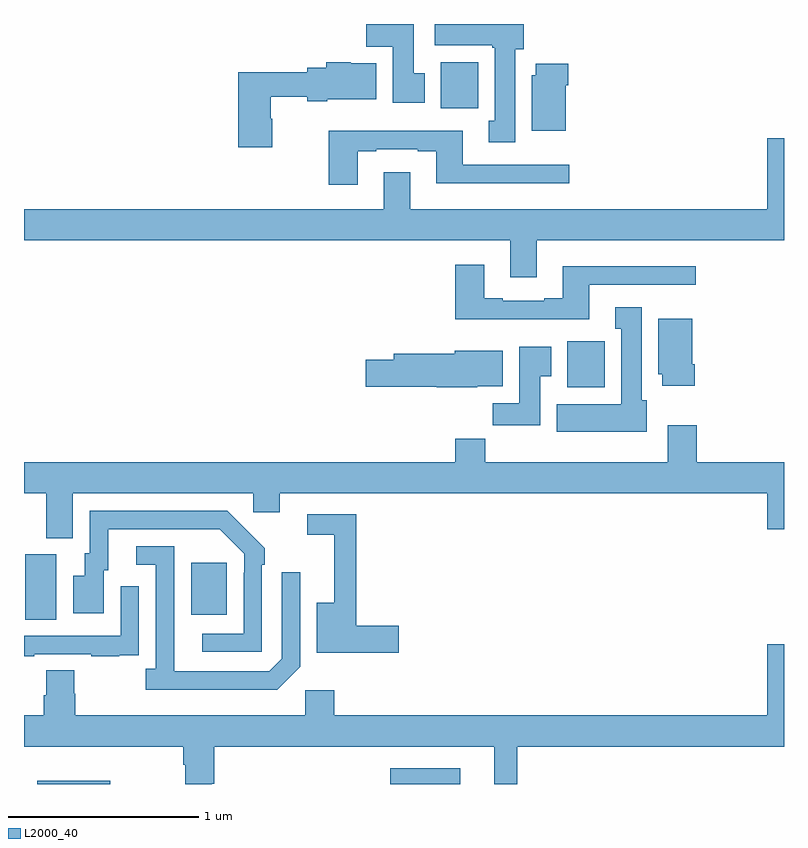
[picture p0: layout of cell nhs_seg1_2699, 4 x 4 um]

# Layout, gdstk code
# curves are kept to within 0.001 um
import gdstk
lib = gdstk.Library(unit=1e-6, precision=1e-09)
def R(c, l, rs):  # rectangles x0, y0, x1, y1
    for r in rs: c.add(gdstk.rectangle(r[:2], r[2:], *l))
def P(c, l, *ps):  # polygons
    for p in ps: c.add(gdstk.Polygon(p, *l))
L2000_40 = (2000, 40)

nhs_seg1_2699 = lib.new_cell('nhs_seg1_2699')
R(nhs_seg1_2699, L2000_40, [(257.07,554.199,257.454,554.215), (258.927,554.199,259.297,554.281), (257.006,555.064,257.17,555.408), (257.879,555.089,258.067,555.364), (259.859,556.286,260.056,556.528), (259.193,557.756,259.39,557.998), (259.721,558.198,259.874,558.199)])
P(nhs_seg1_2699, L2000_40, [(259.108,557.94),(259.051,557.94),(259.051,558.199),(258.802,558.199),(258.802,558.08),(258.941,558.08),(258.941,557.784),(259.108,557.784)],
  [(259.585,558.066),(259.63,558.066),(259.63,558.199),(259.161,558.199),(259.161,558.086),(259.465,558.086),(259.465,558.073),(259.478,558.073),(259.478,557.69),(259.445,557.69),(259.445,557.577),(259.585,557.577)],
  [(258.306,557.7),(258.298,557.7),(258.298,557.815),(258.491,557.815),(258.491,557.792),(258.595,557.792),(258.595,557.804),(258.853,557.804),(258.853,557.992),(258.72,557.992),(258.72,557.998),(258.59,557.998),(258.59,557.97),(258.491,557.97),(258.491,557.944),(258.128,557.944),(258.128,557.55),(258.306,557.55)],
  [(259.852,557.876),(259.865,557.876),(259.865,557.989),(259.694,557.989),(259.694,557.928),(259.673,557.928),(259.673,557.636),(259.852,557.636)],
  [(258.757,557.529),(258.853,557.529),(258.853,557.541),(259.073,557.541),(259.073,557.529),(259.169,557.529),(259.169,557.36),(259.87,557.36),(259.87,557.457),(259.309,557.457),(259.309,557.638),(258.605,557.638),(258.605,557.352),(258.757,557.352)],
  [(259.699,557.06),(261,557.06),(261,557.599),(260.912,557.599),(260.912,557.224),(259.033,557.224),(259.033,557.419),(258.893,557.419),(258.893,557.224),(257,557.224),(257,557.06),(259.559,557.06),(259.559,556.866),(259.699,556.866)],
  [(259.975,556.827),(260.536,556.827),(260.536,556.924),(259.835,556.924),(259.835,556.756),(259.739,556.756),(259.739,556.743),(259.519,556.743),(259.519,556.756),(259.423,556.756),(259.423,556.933),(259.271,556.933),(259.271,556.646),(259.975,556.646)],
  [(260.278,556.218),(260.251,556.218),(260.251,556.708),(260.111,556.708),(260.111,556.595),(260.144,556.595),(260.144,556.198),(259.805,556.198),(259.805,556.052),(260.278,556.052)],
  [(260.531,556.408),(260.518,556.408),(260.518,556.648),(260.339,556.648),(260.339,556.356),(260.36,556.356),(260.36,556.296),(260.531,556.296)],
  [(259.717,556.345),(259.774,556.345),(259.774,556.501),(259.607,556.501),(259.607,556.204),(259.468,556.204),(259.468,556.086),(259.717,556.086)],
  [(259.386,556.292),(259.519,556.292),(259.519,556.48),(259.268,556.48),(259.268,556.463),(258.947,556.463),(258.947,556.433),(258.798,556.433),(258.798,556.291),(259.172,556.291),(259.172,556.286),(259.386,556.286)],
  [(257.257,555.728),(258.207,555.728),(258.207,555.63),(258.346,555.63),(258.346,555.728),(260.912,555.728),(260.912,555.54),(261,555.54),(261,555.892),(260.54,555.892),(260.54,556.087),(260.387,556.087),(260.387,555.892),(259.427,555.892),(259.427,556.016),(259.271,556.016),(259.271,555.892),(257,555.892),(257,555.728),(257.117,555.728),(257.117,555.493),(257.257,555.493)],
  [(258.252,555.353),(258.267,555.353),(258.267,555.441),(258.07,555.636),(257.346,555.636),(257.346,555.414),(257.321,555.414),(257.321,555.295),(257.258,555.295),(257.258,555.099),(257.419,555.099),(257.419,555.324),(257.443,555.324),(257.443,555.54),(258.031,555.54),(258.159,555.411),(258.159,555.311),(258.156,555.311),(258.156,554.991),(257.937,554.991),(257.937,554.895),(258.252,554.895)],
  [(258.973,555.032),(258.749,555.032),(258.749,555.618),(258.492,555.618),(258.492,555.51),(258.632,555.51),(258.632,555.154),(258.542,555.154),(258.542,554.89),(258.973,554.89)],
  [(258.453,554.817),(258.453,555.313),(258.357,555.313),(258.357,554.859),(258.291,554.793),(257.791,554.793),(257.79,555.45),(257.592,555.45),(257.592,555.354),(257.694,555.354),(257.694,554.806),(257.642,554.806),(257.642,554.696),(258.332,554.696)],
  [(257.053,554.883),(257.353,554.883),(257.353,554.871),(257.501,554.871),(257.501,554.877),(257.603,554.877),(257.603,554.986),(257.604,554.986),(257.604,555.241),(257.508,555.241),(257.508,554.979),(257,554.979),(257,554.871),(257.053,554.871)],
  [(257.989,554.2),(258.002,554.2),(258.002,554.396),(259.475,554.396),(259.475,554.199),(259.597,554.199),(259.597,554.396),(261,554.396),(261,554.935),(260.912,554.935),(260.912,554.56),(258.632,554.56),(258.632,554.692),(258.48,554.692),(258.48,554.56),(257.27,554.56),(257.27,554.673),(257.265,554.673),(257.265,554.798),(257.117,554.798),(257.117,554.666),(257.105,554.666),(257.105,554.56),(257,554.56),(257,554.396),(257.837,554.396),(257.837,554.3),(257.849,554.3),(257.849,554.199),(257.989,554.199)])

lib.write_gds('nhs_seg1_2699.gds')
